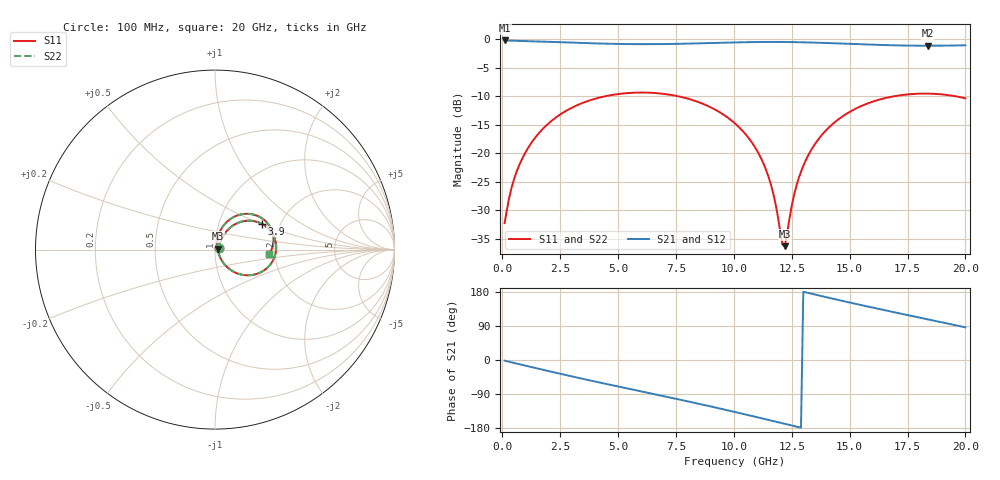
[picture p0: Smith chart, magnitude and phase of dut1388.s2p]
! Touchstone file exported from HFSS 2026.1.0
!  File:  C:/ffzhzh/LocalFiles/Ansys_Project_Files/temp_train_TSV_RDL_1388_1783349458_50076.aedt
!  Generated:  11:02:39 PM Jul  6, 2026
!  Design:  TSV_RDL
!  Project:  temp_train_TSV_RDL_1388_1783349458_50076
! Variables:
!  h_bsmrdl = 2.65um
!  h_ox = 20um
!  h_rdl = 5um
!  h_sub = 90.52um
!  h_tmrdl = 3.46um
!  h_tsv = 90.52um
!  h_via = 3um
!  l_bsmrdl = 748.89um
!  l_sub = 4472.06um
!  l_tmrdl = 420.82um
!  m_sub = 200um
!  pitch = 39.43um
!  r_tsv = 8.31um
!  s_tmrdl = 10um
!  w_bsmrdl = 28.92um
!  w_sub = 500um
!  w_tmrdl = 18.45um
!  x_tsv_center1 = 430.045um
!  x_tsv_center2 = 1207.855um
!  x_tsv_center3 = 1647.125um
!  x_tsv_center4 = 2424.935um
!  x_tsv_center5 = 2864.205um
!  x_tsv_center6 = 3642.015um
# GHz S MA R 50.000000
! Terminal data exported
! Port[1] = TM_RDL1_1_T1
! Port[2] = TM_RDL5_1_T1
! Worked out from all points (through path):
!   200 points, 100 MHz to 20 GHz, reference 50 ohm
!   highest |S21| = -0.19 dB at 100 MHz (marker M1); lowest = -1.1 dB at 18.4 GHz (marker M2)
!   group delay of S21, straight-line fit = 38.1 ps
!   lowest |S11| = -36.3 dB at 12.2 GHz (marker M3), VSWR 1.03, Z = 51.4 + j0.608 ohm
!   |S11| at or under -10 dB: start of sweep to 4.429 GHz; 7.61 GHz to 16.9 GHz (9.293 GHz wide, 75.8 % of centre); 19.6 GHz to end of sweep
!   |S22| runs from -36.2 to -9.3 dB; largest |S21 - S12| = 1.9e-14
!   S11 on the Smith chart (normalised r, x): 100 MHz: 1.04, +0.02; 3.9 GHz: 1.60, +0.51; 20 GHz: 1.87, -0.09
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0.1  0.02437 27.1  0.9785 -1.6  0.9785 -1.6  0.02437 27.1
! Gamma 0 0 0 0
! Port Impedance 50 0 50 0
0.5  0.05857 55.8  0.9725 -7.7  0.9725 -7.7  0.05858 55.8
1.2  0.1187 57.9  0.964 -17.9  0.964 -17.9  0.1187 57.9
2.2  0.198 49.1  0.9498 -32.1  0.9498 -32.1  0.198 49.1
3.5  0.2783 34.0  0.9294 -50.0  0.9294 -50.0  0.2783 34.0
3.9  0.2967 29.1  0.9238 -55.4  0.9238 -55.4  0.2967 29.1
5.3  0.3363 12.0  0.91 -73.8  0.91 -73.8  0.3363 12.0
6.8  0.3354 -6.3  0.9089 -93.2  0.9089 -93.2  0.3354 -6.3
8.5  0.2803 -27.5  0.9231 -115.7  0.9231 -115.7  0.2802 -27.5
10.1  0.179 -47.3  0.9413 -137.9  0.9413 -137.9  0.179 -47.3
10.8  0.1226 -54.8  0.947 -148.0  0.947 -148.0  0.1226 -54.8
11.4  0.07071 -58.1  0.9494 -156.7  0.9494 -156.7  0.07067 -58.0
11.8  0.03606 -51.6  0.9496 -162.6  0.9496 -162.6  0.03604 -51.4
12.1  0.01577 -10.1  0.9488 -166.9  0.9488 -166.9  0.01587 -9.7
12.2  0.0153 22.7  0.9484 -168.4  0.9484 -168.4  0.01545 22.9
12.5  0.03456 68.8  0.9468 -172.8  0.9468 -172.8  0.03469 68.6
12.7  0.05153 74.6  0.9453 -175.7  0.9453 -175.7  0.05165 74.5
13.4  0.1119 73.9  0.938 174.2  0.938 174.2  0.112 73.8
14.8  0.218 58.6  0.9168 154.4  0.9168 154.4  0.2181 58.5
16.7  0.3104 35.4  0.8891 129.0  0.8891 129.0  0.3105 35.4
18.4  0.3342 14.9  0.8796 107.0  0.8796 107.0  0.3343 14.9
20  0.3036 -4.3  0.8877 86.2  0.8877 86.2  0.3037 -4.3
